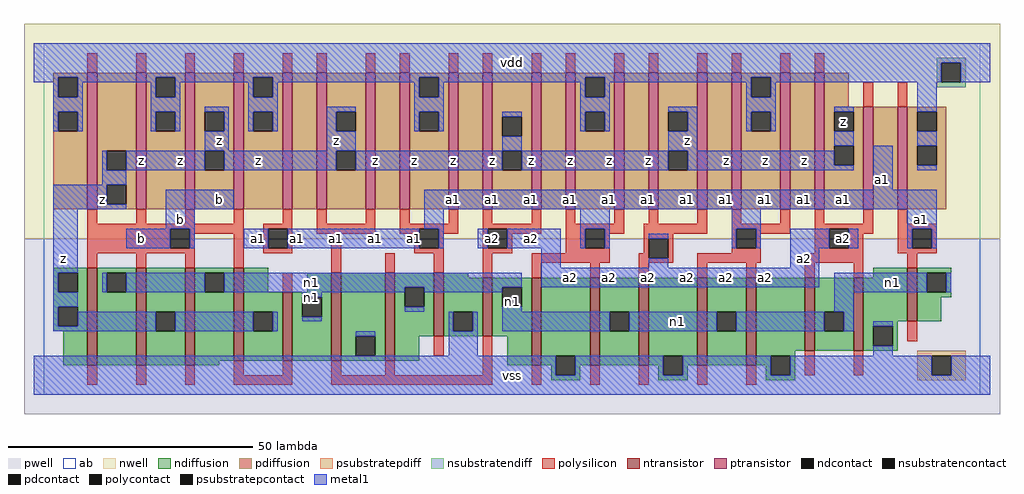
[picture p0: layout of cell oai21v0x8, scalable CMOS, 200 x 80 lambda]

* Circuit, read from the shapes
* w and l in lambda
.subckt oai21v0x8 a1 a2 b n1 vdd vss z
M1 n1 b z vss nfet w=20 l=2 m=3
M2 z b n1 vss nfet w=19 l=2
M3 n1 b z vss nfet w=14 l=2
M4 vss a2 n1 vss nfet w=18 l=2 m=3
M5 vss a1 n1 vss nfet w=13 l=2
M6 n1 a2 vss vss nfet w=12 l=2
M7 vss a1 n1 vss nfet w=18 l=2 m=4
M8 n1 a2 vss vss nfet w=15 l=2 m=2
M9 n1 a1 vss vss nfet w=11 l=2
M10 z b vdd vdd pfet w=28 l=2 m=4
M11 n2 a1 vdd vdd pfet w=28 l=2
M12 z a2 n2 vdd pfet w=28 l=2
M13 n3 a2 z vdd pfet w=28 l=2
M14 vdd a1 n3 vdd pfet w=28 l=2
M15 n4 a1 vdd vdd pfet w=28 l=2
M16 z a2 n4 vdd pfet w=28 l=2
M17 n5 a2 z vdd pfet w=28 l=2
M18 vdd a1 n5 vdd pfet w=28 l=2
M19 n6 a1 vdd vdd pfet w=28 l=2
M20 z a2 n6 vdd pfet w=28 l=2
M21 n7 a2 z vdd pfet w=28 l=2
M22 vdd a1 n7 vdd pfet w=28 l=2
M23 n8 a1 vdd vdd pfet w=28 l=2
M24 z a2 n8 vdd pfet w=28 l=2
M25 n9 a2 z vdd pfet w=21 l=2
M26 vdd a1 n9 vdd pfet w=21 l=2
.ends

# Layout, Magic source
magic
tech scmos
<< ab >>
rect 0 0 192 72
<< pwell >>
rect -4 -4 196 32
<< nwell >>
rect -4 32 196 76
<< polysilicon >>
rect 9 66 11 70
rect 19 66 21 70
rect 29 66 31 70
rect 39 66 41 70
rect 49 66 51 70
rect 56 66 58 70
rect 66 66 68 70
rect 73 66 75 70
rect 83 66 85 70
rect 90 66 92 70
rect 100 66 102 70
rect 107 66 109 70
rect 117 66 119 70
rect 124 66 126 70
rect 134 66 136 70
rect 141 66 143 70
rect 151 66 153 70
rect 158 66 160 70
rect 168 59 170 64
rect 175 59 177 64
rect 9 35 11 38
rect 19 35 21 38
rect 29 35 31 38
rect 39 35 41 38
rect 49 35 51 38
rect 9 34 41 35
rect 9 30 26 34
rect 30 33 41 34
rect 30 30 31 33
rect 9 29 31 30
rect 9 26 11 29
rect 19 26 21 29
rect 29 26 31 29
rect 39 26 41 33
rect 45 34 51 35
rect 45 30 46 34
rect 50 30 51 34
rect 56 35 58 38
rect 66 35 68 38
rect 56 33 68 35
rect 73 35 75 38
rect 83 35 85 38
rect 73 34 85 35
rect 73 33 77 34
rect 45 29 51 30
rect 59 25 61 33
rect 76 30 77 33
rect 81 33 85 34
rect 90 35 92 38
rect 100 35 102 38
rect 90 34 102 35
rect 81 30 82 33
rect 76 29 82 30
rect 70 25 72 29
rect 80 25 82 29
rect 90 30 91 34
rect 95 33 102 34
rect 107 35 109 38
rect 117 35 119 38
rect 124 35 126 38
rect 134 35 136 38
rect 107 34 119 35
rect 95 30 96 33
rect 90 29 96 30
rect 107 30 111 34
rect 115 33 119 34
rect 123 33 136 35
rect 141 35 143 38
rect 151 35 153 38
rect 141 34 153 35
rect 115 30 116 33
rect 107 29 116 30
rect 123 32 129 33
rect 123 29 124 32
rect 49 21 51 25
rect 90 24 92 29
rect 100 27 116 29
rect 122 28 124 29
rect 128 28 129 32
rect 141 30 142 34
rect 146 33 153 34
rect 158 35 160 38
rect 168 35 170 38
rect 158 34 170 35
rect 146 30 147 33
rect 141 29 147 30
rect 158 30 161 34
rect 165 33 170 34
rect 175 35 177 38
rect 175 34 183 35
rect 165 30 168 33
rect 158 29 168 30
rect 175 30 178 34
rect 182 30 183 34
rect 175 29 183 30
rect 122 27 129 28
rect 134 27 147 29
rect 156 27 168 29
rect 100 24 102 27
rect 112 24 114 27
rect 122 24 124 27
rect 134 24 136 27
rect 144 24 146 27
rect 156 24 158 27
rect 166 24 168 27
rect 177 26 179 29
rect 80 8 82 12
rect 9 2 11 6
rect 19 2 21 6
rect 29 2 31 6
rect 39 4 41 7
rect 49 4 51 7
rect 39 2 51 4
rect 59 4 61 7
rect 70 4 72 7
rect 90 4 92 12
rect 59 2 92 4
rect 100 2 102 6
rect 112 2 114 6
rect 122 2 124 6
rect 177 11 179 15
rect 134 2 136 6
rect 144 2 146 6
rect 156 4 158 9
rect 166 4 168 9
<< ndiffusion >>
rect 2 25 9 26
rect 2 21 3 25
rect 7 21 9 25
rect 2 18 9 21
rect 2 14 3 18
rect 7 14 9 18
rect 2 13 9 14
rect 4 6 9 13
rect 11 25 19 26
rect 11 21 13 25
rect 17 21 19 25
rect 11 6 19 21
rect 21 17 29 26
rect 21 13 23 17
rect 27 13 29 17
rect 21 6 29 13
rect 31 25 39 26
rect 31 21 33 25
rect 37 21 39 25
rect 31 7 39 21
rect 41 21 46 26
rect 54 21 59 25
rect 41 17 49 21
rect 41 13 43 17
rect 47 13 49 17
rect 41 7 49 13
rect 51 20 59 21
rect 51 16 53 20
rect 57 16 59 20
rect 51 7 59 16
rect 61 12 70 25
rect 61 8 64 12
rect 68 8 70 12
rect 61 7 70 8
rect 72 22 80 25
rect 72 18 74 22
rect 78 18 80 22
rect 72 12 80 18
rect 82 24 87 25
rect 170 24 177 26
rect 82 17 90 24
rect 82 13 84 17
rect 88 13 90 17
rect 82 12 90 13
rect 92 22 100 24
rect 92 18 94 22
rect 98 18 100 22
rect 92 12 100 18
rect 72 7 77 12
rect 31 6 36 7
rect 95 6 100 12
rect 102 8 112 24
rect 102 6 105 8
rect 104 4 105 6
rect 109 6 112 8
rect 114 17 122 24
rect 114 13 116 17
rect 120 13 122 17
rect 114 6 122 13
rect 124 8 134 24
rect 124 6 127 8
rect 109 4 110 6
rect 104 3 110 4
rect 126 4 127 6
rect 131 6 134 8
rect 136 17 144 24
rect 136 13 138 17
rect 142 13 144 17
rect 136 6 144 13
rect 146 9 156 24
rect 158 17 166 24
rect 158 13 160 17
rect 164 13 166 17
rect 158 9 166 13
rect 168 15 177 24
rect 179 25 186 26
rect 179 21 181 25
rect 185 21 186 25
rect 179 20 186 21
rect 179 15 184 20
rect 168 14 175 15
rect 168 10 170 14
rect 174 10 175 14
rect 168 9 175 10
rect 146 8 154 9
rect 146 6 149 8
rect 131 4 132 6
rect 126 3 132 4
rect 148 4 149 6
rect 153 4 154 8
rect 148 3 154 4
<< pdiffusion >>
rect 2 65 9 66
rect 2 61 3 65
rect 7 61 9 65
rect 2 58 9 61
rect 2 54 3 58
rect 7 54 9 58
rect 2 38 9 54
rect 11 50 19 66
rect 11 46 13 50
rect 17 46 19 50
rect 11 43 19 46
rect 11 39 13 43
rect 17 39 19 43
rect 11 38 19 39
rect 21 65 29 66
rect 21 61 23 65
rect 27 61 29 65
rect 21 58 29 61
rect 21 54 23 58
rect 27 54 29 58
rect 21 38 29 54
rect 31 58 39 66
rect 31 54 33 58
rect 37 54 39 58
rect 31 50 39 54
rect 31 46 33 50
rect 37 46 39 50
rect 31 38 39 46
rect 41 65 49 66
rect 41 61 43 65
rect 47 61 49 65
rect 41 58 49 61
rect 41 54 43 58
rect 47 54 49 58
rect 41 38 49 54
rect 51 38 56 66
rect 58 58 66 66
rect 58 54 60 58
rect 64 54 66 58
rect 58 50 66 54
rect 58 46 60 50
rect 64 46 66 50
rect 58 38 66 46
rect 68 38 73 66
rect 75 65 83 66
rect 75 61 77 65
rect 81 61 83 65
rect 75 58 83 61
rect 75 54 77 58
rect 81 54 83 58
rect 75 38 83 54
rect 85 38 90 66
rect 92 57 100 66
rect 92 53 94 57
rect 98 53 100 57
rect 92 50 100 53
rect 92 46 94 50
rect 98 46 100 50
rect 92 38 100 46
rect 102 38 107 66
rect 109 65 117 66
rect 109 61 111 65
rect 115 61 117 65
rect 109 58 117 61
rect 109 54 111 58
rect 115 54 117 58
rect 109 38 117 54
rect 119 38 124 66
rect 126 58 134 66
rect 126 54 128 58
rect 132 54 134 58
rect 126 50 134 54
rect 126 46 128 50
rect 132 46 134 50
rect 126 38 134 46
rect 136 38 141 66
rect 143 65 151 66
rect 143 61 145 65
rect 149 61 151 65
rect 143 58 151 61
rect 143 54 145 58
rect 149 54 151 58
rect 143 38 151 54
rect 153 38 158 66
rect 160 59 165 66
rect 160 58 168 59
rect 160 54 162 58
rect 166 54 168 58
rect 160 51 168 54
rect 160 47 162 51
rect 166 47 168 51
rect 160 38 168 47
rect 170 38 175 59
rect 177 58 185 59
rect 177 54 179 58
rect 183 54 185 58
rect 177 51 185 54
rect 177 47 179 51
rect 183 47 185 51
rect 177 38 185 47
<< metal1 >>
rect -2 68 194 72
rect -2 65 184 68
rect -2 64 3 65
rect 2 61 3 64
rect 7 64 23 65
rect 7 61 8 64
rect 2 58 8 61
rect 2 54 3 58
rect 7 54 8 58
rect 22 61 23 64
rect 27 64 43 65
rect 27 61 28 64
rect 22 58 28 61
rect 42 61 43 64
rect 47 64 77 65
rect 47 61 48 64
rect 22 54 23 58
rect 27 54 28 58
rect 33 58 38 59
rect 37 54 38 58
rect 42 58 48 61
rect 76 61 77 64
rect 81 64 111 65
rect 81 61 82 64
rect 42 54 43 58
rect 47 54 48 58
rect 58 58 64 59
rect 58 54 60 58
rect 76 58 82 61
rect 110 61 111 64
rect 115 64 145 65
rect 115 61 116 64
rect 110 58 116 61
rect 144 61 145 64
rect 149 64 184 65
rect 188 64 194 68
rect 149 61 150 64
rect 76 54 77 58
rect 81 54 82 58
rect 94 57 98 58
rect 33 50 38 54
rect 58 50 64 54
rect 110 54 111 58
rect 115 54 116 58
rect 128 58 134 59
rect 132 54 134 58
rect 144 58 150 61
rect 144 54 145 58
rect 149 54 150 58
rect 162 58 166 59
rect 94 50 98 53
rect 128 50 134 54
rect 162 51 166 54
rect 179 58 183 64
rect 179 51 183 54
rect 12 46 13 50
rect 17 46 33 50
rect 37 46 60 50
rect 64 46 94 50
rect 98 46 128 50
rect 132 47 162 50
rect 132 46 166 47
rect 12 43 17 46
rect 2 39 13 43
rect 170 42 174 51
rect 179 46 183 47
rect 2 38 17 39
rect 25 38 39 42
rect 78 38 183 42
rect 2 25 7 38
rect 25 34 31 38
rect 78 34 82 38
rect 110 34 116 38
rect 17 30 26 34
rect 30 30 31 34
rect 41 30 46 34
rect 50 30 77 34
rect 81 30 82 34
rect 89 30 91 34
rect 95 30 106 34
rect 110 30 111 34
rect 115 30 116 34
rect 141 34 147 38
rect 177 34 183 38
rect 124 32 128 33
rect 102 26 106 30
rect 141 30 142 34
rect 146 30 147 34
rect 153 30 161 34
rect 165 30 167 34
rect 177 30 178 34
rect 182 30 183 34
rect 124 26 128 28
rect 153 26 159 30
rect 2 21 3 25
rect 12 21 13 25
rect 17 21 33 25
rect 37 22 98 25
rect 102 22 159 26
rect 37 21 74 22
rect 2 18 7 21
rect 2 14 3 18
rect 53 20 57 21
rect 7 14 23 17
rect 2 13 23 14
rect 27 13 43 17
rect 47 13 48 17
rect 78 21 94 22
rect 74 17 78 18
rect 94 17 98 18
rect 162 21 181 25
rect 185 21 186 25
rect 162 17 166 21
rect 53 15 57 16
rect 83 13 84 17
rect 88 13 89 17
rect 94 13 116 17
rect 120 13 138 17
rect 142 13 160 17
rect 164 13 166 17
rect 170 14 174 15
rect 64 12 68 13
rect 83 8 89 13
rect 170 8 174 10
rect -2 4 105 8
rect 109 4 127 8
rect 131 4 149 8
rect 153 4 182 8
rect 186 4 194 8
rect -2 0 194 4
<< ntransistor >>
rect 9 6 11 26
rect 19 6 21 26
rect 29 6 31 26
rect 39 7 41 26
rect 49 7 51 21
rect 59 7 61 25
rect 70 7 72 25
rect 80 12 82 25
rect 90 12 92 24
rect 100 6 102 24
rect 112 6 114 24
rect 122 6 124 24
rect 134 6 136 24
rect 144 6 146 24
rect 156 9 158 24
rect 166 9 168 24
rect 177 15 179 26
<< ptransistor >>
rect 9 38 11 66
rect 19 38 21 66
rect 29 38 31 66
rect 39 38 41 66
rect 49 38 51 66
rect 56 38 58 66
rect 66 38 68 66
rect 73 38 75 66
rect 83 38 85 66
rect 90 38 92 66
rect 100 38 102 66
rect 107 38 109 66
rect 117 38 119 66
rect 124 38 126 66
rect 134 38 136 66
rect 141 38 143 66
rect 151 38 153 66
rect 158 38 160 66
rect 168 38 170 59
rect 175 38 177 59
<< polycontact >>
rect 26 30 30 34
rect 46 30 50 34
rect 77 30 81 34
rect 91 30 95 34
rect 111 30 115 34
rect 124 28 128 32
rect 142 30 146 34
rect 161 30 165 34
rect 178 30 182 34
<< ndcontact >>
rect 3 21 7 25
rect 3 14 7 18
rect 13 21 17 25
rect 23 13 27 17
rect 33 21 37 25
rect 43 13 47 17
rect 53 16 57 20
rect 64 8 68 12
rect 74 18 78 22
rect 84 13 88 17
rect 94 18 98 22
rect 105 4 109 8
rect 116 13 120 17
rect 127 4 131 8
rect 138 13 142 17
rect 160 13 164 17
rect 181 21 185 25
rect 170 10 174 14
rect 149 4 153 8
<< pdcontact >>
rect 3 61 7 65
rect 3 54 7 58
rect 13 46 17 50
rect 13 39 17 43
rect 23 61 27 65
rect 23 54 27 58
rect 33 54 37 58
rect 33 46 37 50
rect 43 61 47 65
rect 43 54 47 58
rect 60 54 64 58
rect 60 46 64 50
rect 77 61 81 65
rect 77 54 81 58
rect 94 53 98 57
rect 94 46 98 50
rect 111 61 115 65
rect 111 54 115 58
rect 128 54 132 58
rect 128 46 132 50
rect 145 61 149 65
rect 145 54 149 58
rect 162 54 166 58
rect 162 47 166 51
rect 179 54 183 58
rect 179 47 183 51
<< psubstratepcontact >>
rect 182 4 186 8
<< nsubstratencontact >>
rect 184 64 188 68
<< psubstratepdiff >>
rect 179 8 189 9
rect 179 4 182 8
rect 186 4 189 8
rect 179 3 189 4
<< nsubstratendiff >>
rect 183 68 189 69
rect 183 64 184 68
rect 188 64 189 68
rect 183 63 189 64
<< labels >>
rlabel metal1 4 28 4 28 6 z
rlabel metal1 20 32 20 32 6 b
rlabel metal1 12 40 12 40 6 z
rlabel metal1 20 48 20 48 6 z
rlabel metal1 55 20 55 20 6 n1
rlabel metal1 60 32 60 32 6 a1
rlabel metal1 52 32 52 32 6 a1
rlabel metal1 44 32 44 32 6 a1
rlabel metal1 36 40 36 40 6 b
rlabel metal1 28 36 28 36 6 b
rlabel metal1 60 52 60 52 6 z
rlabel metal1 44 48 44 48 6 z
rlabel metal1 36 52 36 52 6 z
rlabel metal1 28 48 28 48 6 z
rlabel polycontact 92 32 92 32 6 a2
rlabel metal1 76 32 76 32 6 a1
rlabel metal1 68 32 68 32 6 a1
rlabel metal1 92 40 92 40 6 a1
rlabel metal1 84 40 84 40 6 a1
rlabel metal1 92 48 92 48 6 z
rlabel metal1 84 48 84 48 6 z
rlabel metal1 76 48 76 48 6 z
rlabel metal1 68 48 68 48 6 z
rlabel metal1 96 4 96 4 6 vss
rlabel metal1 124 24 124 24 6 a2
rlabel metal1 116 24 116 24 6 a2
rlabel metal1 108 24 108 24 6 a2
rlabel metal1 55 23 55 23 6 n1
rlabel ndcontact 96 19 96 19 6 n1
rlabel metal1 100 32 100 32 6 a2
rlabel metal1 124 40 124 40 6 a1
rlabel metal1 116 40 116 40 6 a1
rlabel metal1 108 40 108 40 6 a1
rlabel metal1 100 40 100 40 6 a1
rlabel metal1 124 48 124 48 6 z
rlabel metal1 116 48 116 48 6 z
rlabel metal1 108 48 108 48 6 z
rlabel metal1 100 48 100 48 6 z
rlabel metal1 96 68 96 68 6 vdd
rlabel metal1 156 28 156 28 6 a2
rlabel metal1 148 24 148 24 6 a2
rlabel metal1 140 24 140 24 6 a2
rlabel metal1 132 24 132 24 6 a2
rlabel metal1 156 40 156 40 6 a1
rlabel metal1 148 40 148 40 6 a1
rlabel metal1 140 40 140 40 6 a1
rlabel metal1 132 40 132 40 6 a1
rlabel metal1 156 48 156 48 6 z
rlabel metal1 148 48 148 48 6 z
rlabel metal1 140 48 140 48 6 z
rlabel metal1 132 52 132 52 6 z
rlabel metal1 130 15 130 15 6 n1
rlabel metal1 174 23 174 23 6 n1
rlabel polycontact 164 32 164 32 6 a2
rlabel metal1 180 36 180 36 6 a1
rlabel metal1 164 40 164 40 6 a1
rlabel metal1 172 44 172 44 6 a1
rlabel pdcontact 164 56 164 56 6 z
<< end >>
